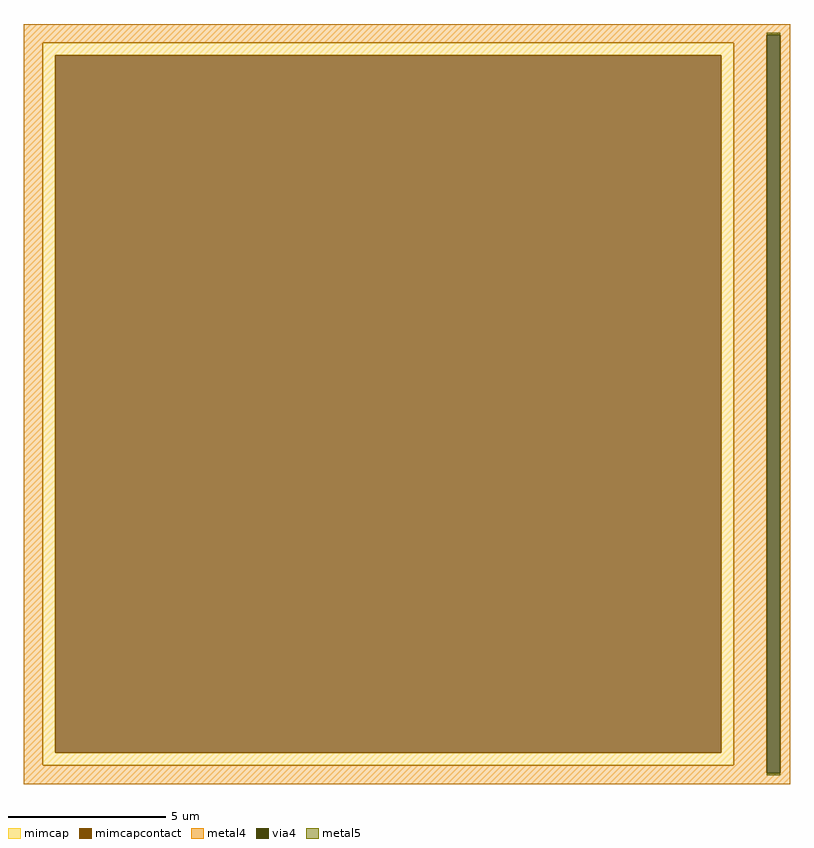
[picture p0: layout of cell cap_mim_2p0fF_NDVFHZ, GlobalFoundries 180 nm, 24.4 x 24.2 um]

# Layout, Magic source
magic
tech gf180mcuC
magscale 1 10
<< mimcap >>
rect -2320 2220 2080 2300
rect -2320 -2220 -2240 2220
rect 2000 -2220 2080 2220
rect -2320 -2300 2080 -2220
<< mimcapcontact >>
rect -2240 -2220 2000 2220
<< metal4 >>
rect -2440 2353 2440 2420
rect -2440 2300 2290 2353
rect -2440 -2300 -2320 2300
rect 2080 -2300 2290 2300
rect -2440 -2353 2290 -2300
rect 2378 -2353 2440 2353
rect -2440 -2420 2440 -2353
<< via4 >>
rect 2290 -2353 2378 2353
<< metal5 >>
rect 2290 2353 2378 2363
rect 2290 -2363 2378 -2353
<< properties >>
string FIXED_BBOX -2440 -2420 2200 2420
string gencell cap_mim_2p0fF
string library gf180mcu
string parameters w 22 l 23 val 14.45k carea 25.00 cperi 20.00 nx 1 ny 1 dummy 0 square 0 lmin 5.00 wmin 5.00 lmax 100.0 wmax 100.0 dc 0 bconnect 0 tconnect 0
<< end >>
